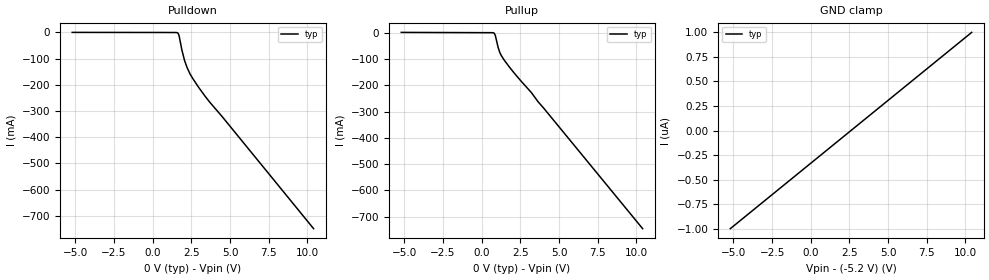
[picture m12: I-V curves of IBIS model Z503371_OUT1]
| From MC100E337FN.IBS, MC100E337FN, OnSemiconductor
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| (C) COPYRIGHT 1993-2000
| MENTOR GRAPHICS CORPORATION
| ICX STANDARD LIBRARY, ICX PROJECT MODELING,
| ICX CUSTOM MODELING, ICX VENDOR MODEL
| ALL RIGHTS RESERVED.
| THE FOLLOWING ARE TRADEMARKS OR SERVICE MARKS OF
| MENTOR GRAPHICS CORPORATION:ICX (R), ICX STANDARD
| LIBRARY(R), ICX PROJECT MODELING(R), ICX CUSTOM
| MODELING(R), qualityIBIS(TM), MODELVIEWER(TM),
| AND MODELEDITOR(TM)
| ALL COPIES OF SOFTWARE, INCLUDING BUT NOT LIMITED TO
| ANY MODIFICATIONS, ENHANCEMENTS OR DERIVATIVE WORKS,
| MUST CONTAIN ALL MENTOR GRAPHICS CORPORATION'S
| NOTICES AND LEGENDS, INCLUDING THOSE EMBEDDED IN
| SOFTWARE AND THOSE AFFIXED TO SOFTWARE MEDIUM
| AND CONTAINER, AS RECEIVED FROM MENTOR GRAPHICS
| CORPORATION.
| Model Application Version 1.89 2/18/99.
[Model] Z503371_OUT1
Model_type Output_ECL
Vref=-2.000V
Rref=50.00ohms
Cref=0.000F
Vmeas=-1.320V
C_comp 8.000pF NA NA
| variable typ   min   max
[Voltage Range] -5.200V NA NA
[POWER Clamp Reference] 0.000V NA NA
[Pullup Reference] 0.000V NA NA
[Pulldown Reference] 0.000V NA NA
[GND Clamp Reference] -5.200V NA NA
[GND Clamp]
-5.2V     -1uA       NA         NA
10.4V     1uA        NA         NA
[Pulldown]
-5.2V     371.3uA    NA         NA
1.622V    -2.022mA   NA         NA
1.709V    -13.03mA   NA         NA
1.887V    -66.67mA   NA         NA
2.062V    -107.3mA   NA         NA
2.232V    -135.2mA   NA         NA
2.426V    -159.6mA   NA         NA
2.988V    -211mA     NA         NA
3.688V    -266.1mA   NA         NA
4.487V    -321mA     NA         NA
10.4V     -749.2mA   NA         NA
[Pullup]
-5.2V     980.3uA    NA         NA
804.3mV   -2.005mA   NA         NA
874mV     -9.615mA   NA         NA
1.061V    -56.24mA   NA         NA
1.162V    -74.32mA   NA         NA
1.431V    -102.5mA   NA         NA
1.798V    -131.5mA   NA         NA
3.213V    -228mA     NA         NA
3.633V    -262mA     NA         NA
10.4V     -745.1mA   NA         NA
[POWER Clamp]
-5.2V     0A         NA         NA
10.4V     0A         NA         NA
[Ramp]
| variable typ min max
dV/dt_r 461.8m/456.6p NA NA
dV/dt_f 461.8m/355.0p NA NA
R_load = 500.0Ohms
